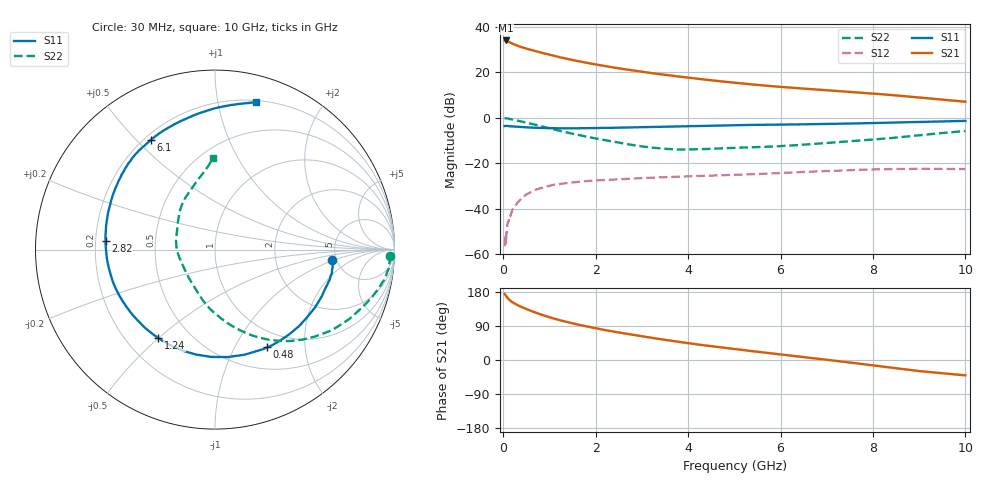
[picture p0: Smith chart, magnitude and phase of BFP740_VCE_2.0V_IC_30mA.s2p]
! Infineon Technologies  Discrete & RF Semiconductors
! BFP740
! VCE =  2.0 V,  IC =  30 mA
! Common Emitter S-Parameters:  Jan 2016
# GHz  S  MA  R  50
!  f  S11  S21  S12  S22
! GHz  MAG  ANG  MAG  ANG  MAG  ANG  MAG  ANG
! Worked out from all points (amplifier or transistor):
!   229 points, 30 MHz to 10 GHz, reference 50 ohm
!   highest |S21| = 34.0 dB at 50 MHz (marker M1)
!   |S21| within 3 dB of that: start of sweep to 406.6 MHz
!   unconditionally stable (mu >= 1): 5.607 GHz to end of sweep
!   at 280 MHz: K = 0.28, MSG = 35.0 dB, |S12| = -38.2 dB
!   at 1.78 GHz: K = 0.52, MSG = 26.1 dB, |S12| = -27.9 dB
!   at 10 GHz: K = 1.01, MAG = 14.1 dB, |S12| = -22.6 dB
!   S11 on the Smith chart (normalised r, x): 30 MHz: 4.62, -0.95; 480 MHz: 0.77, -1.36; 1.24 GHz: 0.33, -0.50; 2.82 GHz: 0.24, +0.04; 6.1 GHz: 0.22, +0.55; 10 GHz: 0.22, +1.29
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0.03  0.6566 -5.1  49.5 174.6  0.0015 81.0  0.9746 -2.0
0.05  0.6635 -8.5  49.97 171.2  0.0027 66.0  0.9755 -4.4
0.08  0.6603 -13.0  49.14 165.9  0.0032 79.3  0.9675 -7.3
0.11  0.6545 -17.9  47.2 161.6  0.005 87.2  0.9565 -10.3
0.15  0.6496 -23.5  45.04 157.0  0.0067 78.7  0.9352 -13.6
0.2  0.6439 -30.1  42.55 152.3  0.0094 78.8  0.9114 -17.2
0.34  0.6287 -47.0  37.17 143.0  0.0146 70.5  0.8493 -26.2
0.48  0.6175 -61.9  33.53 135.6  0.0199 62.8  0.7904 -34.4
0.62  0.6061 -75.9  30.57 128.7  0.0237 57.3  0.7309 -41.8
0.8  0.5983 -92.0  27.29 120.7  0.0283 50.9  0.6599 -50.5
1  0.5915 -107.4  24.24 112.8  0.0319 45.5  0.5858 -59.1
1.24  0.5849 -122.8  21.21 104.6  0.0353 39.9  0.5108 -67.8
1.7  0.587 -146.3  16.9 91.2  0.0395 33.1  0.4022 -82.0
2.2  0.5975 -165.6  13.66 79.0  0.0427 27.9  0.322 -96.7
2.82  0.6116 175.6  10.89 66.0  0.0462 23.5  0.2494 -114.5
3.4  0.6301 161.1  9.052 55.0  0.0489 20.4  0.2119 -135.2
4.3  0.6626 142.7  7.009 39.5  0.0527 15.9  0.204 -168.1
5.1  0.6889 131.1  5.75 27.4  0.0561 12.8  0.2195 171.0
6.1  0.7087 120.3  4.683 13.6  0.0617 9.5  0.2407 150.9
6.8  0.7245 112.4  4.15 3.6  0.0662 5.5  0.2686 139.1
8.4  0.7831 91.2  3.155 -20.4  0.0742 -6.3  0.3579 112.4
10  0.8513 74.6  2.248 -40.4  0.0745 -16.4  0.5097 91.1
